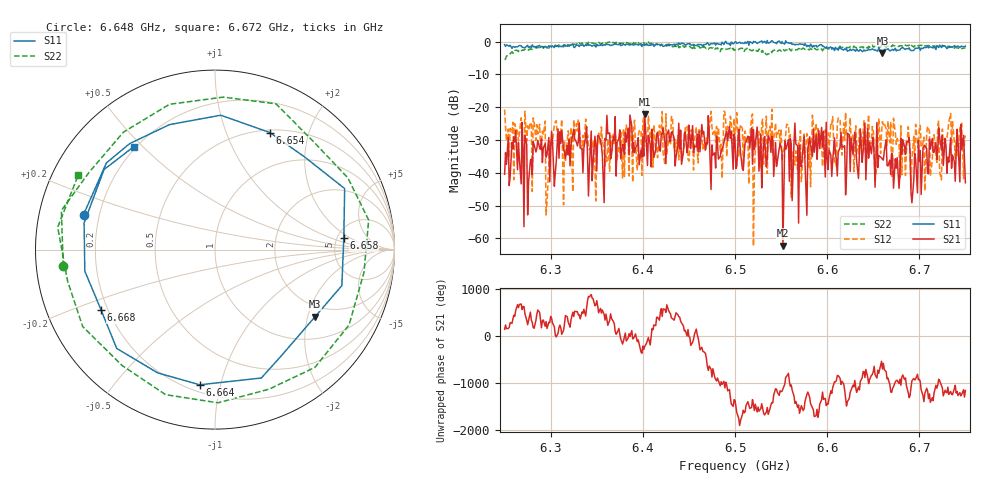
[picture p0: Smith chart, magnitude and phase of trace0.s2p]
# Hz S RI R 50
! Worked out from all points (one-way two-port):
!   401 points, 6.25 GHz to 6.75 GHz, reference 50 ohm
!   highest |S21| = -22.17 dB at 6.402 GHz (marker M1); lowest = -62.2 dB at 6.552 GHz (marker M2)
!   lowest |S11| = -3.5 dB at 6.66 GHz (marker M3), VSWR 5.09, Z = 82.1 - j112 ohm
!   |S11| at or under -10 dB: nowhere
!   |S22| runs from -5.5 to -0.1 dB; largest |S21 - S12| = 0.11
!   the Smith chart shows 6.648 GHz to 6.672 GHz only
!   S11 on the Smith chart (normalised r, x): 6.648 GHz: 0.14, +0.13; 6.654 GHz: 0.53, +1.44; 6.658 GHz: 5.73, +1.53; 6.664 GHz: 0.24, -0.86; 6.668 GHz: 0.17, -0.24; 6.672 GHz: 0.19, +0.47
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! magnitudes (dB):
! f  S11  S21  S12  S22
! 6.25 GHz  -0.9  -40.5  -20.7  -5.5
! 6.274 GHz  -1.4  -31.4  -30.4  -2.3
! 6.291 GHz  -1.5  -36.9  -27.3  -1.7
! 6.298 GHz  -1.3  -29.2  -37.5  -2.0
! 6.304 GHz  -1.8  -44.1  -25.0  -1.5
! 6.334 GHz  -1.1  -32.7  -33.0  -0.5
! 6.402 GHz  -1.2  -22.2  -29.5  -0.9
! 6.418 GHz  -0.9  -33.0  -25.5  -0.6
! 6.5 GHz  -0.1  -29.6  -28.1  -2.6
! 6.522 GHz  0.0  -31.2  -33.1  -2.5
! 6.528 GHz  0.0  -28.1  -38.5  -2.4
! 6.552 GHz  -0.5  -62.2  -33.9  -2.4
! 6.584 GHz  -1.7  -35.1  -22.4  -2.6
! 6.648 GHz  -2.4  -34.2  -30.9  -1.4
! 6.654 GHz  -2.8  -24.7  -37.8  -1.4
! 6.658 GHz  -2.8  -35.2  -34.1  -1.5
! 6.66 GHz  -3.5  -35.9  -24.4  -1.5
! 6.664 GHz  -2.4  -29.9  -26.6  -1.6
! 6.668 GHz  -2.9  -36.1  -30.9  -1.6
! 6.672 GHz  -2.7  -44.7  -23.4  -1.2
! 6.722 GHz  -1.1  -29.0  -39.7  -1.4
! 6.75 GHz  -1.4  -43.1  -28.7  -1.8
